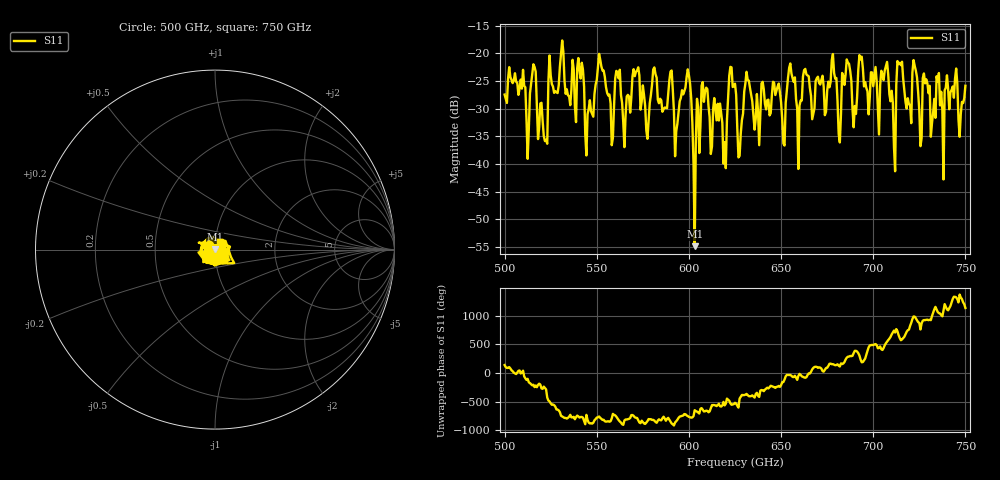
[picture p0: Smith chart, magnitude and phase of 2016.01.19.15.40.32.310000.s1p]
!Created with skrf (http://scikit-rf.org).
# GHz S RI R 50.0
!freq ReS11 ImS11
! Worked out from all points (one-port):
!   401 points, 500 GHz to 750 GHz, reference 50 ohm
!   lowest |S11| = -54.8 dB at 603.1 GHz (marker M1), VSWR 1.00, Z = 50.1 + j0.174 ohm
!   |S11| at or under -10 dB: start of sweep to end of sweep
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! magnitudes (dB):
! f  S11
! 500 GHz  -27.5
! 513.1 GHz  -33.7
! 515.6 GHz  -22.0
! 521.9 GHz  -35.9
! 531.2 GHz  -17.7
! 545 GHz  -31.0
! 551.9 GHz  -21.1
! 558.1 GHz  -36.6
! 562.5 GHz  -23.0
! 590 GHz  -23.3
! 593.8 GHz  -32.7
! 599.4 GHz  -22.9
! 603.1 GHz  -54.8
! 608.1 GHz  -28.8
! 619.4 GHz  -36.0
! 622.5 GHz  -22.4
! 625 GHz  -25.5
! 627.5 GHz  -38.5
! 631.2 GHz  -23.3
! 651.2 GHz  -36.3
! 656.2 GHz  -24.5
! 660 GHz  -29.5
! 663.1 GHz  -22.8
! 678.8 GHz  -23.5
! 681.2 GHz  -34.6
! 687.5 GHz  -23.2
! 718.8 GHz  -28.1
! 750 GHz  -25.9
